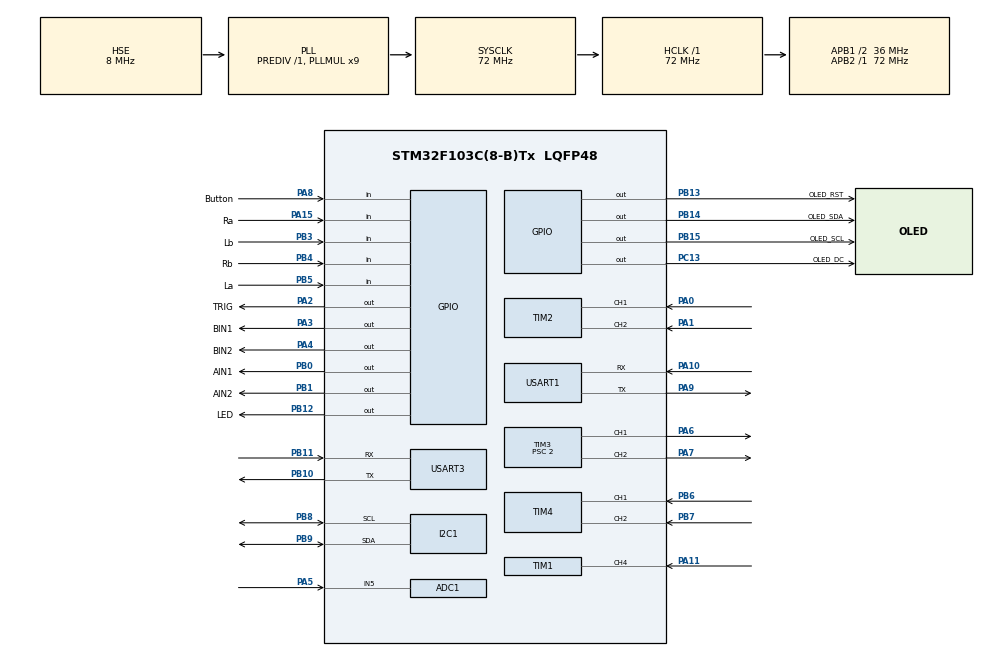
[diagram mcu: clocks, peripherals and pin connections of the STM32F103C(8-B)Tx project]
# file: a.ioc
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ADC1.Channel-0\#ChannelRegularConversion=ADC_CHANNEL_5
ADC1.ContinuousConvMode=ENABLE
ADC1.NbrOfConversionFlag=1
ADC1.Rank-0\#ChannelRegularConversion=1
ADC1.SamplingTime-0\#ChannelRegularConversion=ADC_SAMPLETIME_55CYCLES_5
ADC1.master=1
FREERTOS.Tasks01=defaultTask,0,128,StartDefaultTask,Default,NULL,Dynamic,NULL,NULL
FREERTOS.configTOTAL_HEAP_SIZE=6144
Mcu.Family=STM32F1
Mcu.Name=STM32F103C(8-B)Tx
Mcu.Package=LQFP48
NVIC.PriorityGroup=NVIC_PRIORITYGROUP_4
NVIC.TIM1_CC_IRQn=true\:5\:0\:false\:false\:true\:true\:true\:true
NVIC.TIM1_UP_IRQn=true\:5\:0\:false\:false\:true\:true\:true\:true
NVIC.USART1_IRQn=true\:5\:0\:false\:false\:true\:true\:true\:true
NVIC.USART3_IRQn=true\:5\:0\:false\:false\:true\:true\:true\:true
PA0-WKUP.Signal=S_TIM2_CH1_ETR
PA1.Signal=S_TIM2_CH2
PA10.Mode=Asynchronous
PA10.Signal=USART1_RX
PA11.Signal=S_TIM1_CH4
PA13.Mode=Serial_Wire
PA13.Signal=SYS_JTMS-SWDIO
PA14.Mode=Serial_Wire
PA14.Signal=SYS_JTCK-SWCLK
PA15.GPIO_Label=Ra
PA15.GPIO_PuPd=GPIO_PULLUP
PA15.Signal=GPIO_Input
PA2.GPIO_Label=TRIG
PA2.GPIO_Speed=GPIO_SPEED_FREQ_HIGH
PA2.Signal=GPIO_Output
PA3.GPIO_Label=BIN1
PA3.Signal=GPIO_Output
PA4.GPIO_Label=BIN2
PA4.Signal=GPIO_Output
PA5.Signal=ADCx_IN5
PA6.Signal=S_TIM3_CH1
PA7.Signal=S_TIM3_CH2
PA8.GPIO_Label=Button
PA8.GPIO_PuPd=GPIO_PULLUP
PA8.Signal=GPIO_Input
PA9.Mode=Asynchronous
PA9.Signal=USART1_TX
PB0.GPIO_Label=AIN1
PB0.GPIO_Speed=GPIO_SPEED_FREQ_LOW
PB0.Signal=GPIO_Output
PB1.GPIO_Label=AIN2
PB1.GPIO_ModeDefaultOutputPP=GPIO_MODE_OUTPUT_PP
PB1.Signal=GPIO_Output
PB10.Mode=Asynchronous
PB10.Signal=USART3_TX
PB11.Mode=Asynchronous
PB11.Signal=USART3_RX
PB12.GPIO_Label=LED
PB12.GPIO_Speed=GPIO_SPEED_FREQ_HIGH
PB12.Signal=GPIO_Output
PB13.GPIO_Label=OLED_RST
PB13.Signal=GPIO_Output
PB14.GPIO_Label=OLED_SDA
PB14.Signal=GPIO_Output
PB15.GPIO_Label=OLED_SCL
PB15.Signal=GPIO_Output
PB3.GPIO_Label=Lb
PB3.GPIO_PuPd=GPIO_PULLUP
PB3.Signal=GPIO_Input
PB4.GPIO_Label=Rb
PB4.GPIO_PuPd=GPIO_PULLUP
PB4.Signal=GPIO_Input
PB5.GPIO_Label=La
PB5.GPIO_PuPd=GPIO_PULLUP
PB5.Signal=GPIO_Input
PB6.Signal=S_TIM4_CH1
PB7.Signal=S_TIM4_CH2
PB8.Mode=I2C
PB8.Signal=I2C1_SCL
PB9.Mode=I2C
PB9.Signal=I2C1_SDA
PC13-TAMPER-RTC.GPIO_Label=OLED_DC
PC13-TAMPER-RTC.Signal=GPIO_Output
PC14-OSC32_IN.Mode=LSE-External-Oscillator
PC14-OSC32_IN.Signal=RCC_OSC32_IN
PC15-OSC32_OUT.Mode=LSE-External-Oscillator
PC15-OSC32_OUT.Signal=RCC_OSC32_OUT
PD0-OSC_IN.Mode=HSE-External-Oscillator
PD0-OSC_IN.Signal=RCC_OSC_IN
PD1-OSC_OUT.Mode=HSE-External-Oscillator
PD1-OSC_OUT.Signal=RCC_OSC_OUT
ProjectManager.HeapSize=0x200
ProjectManager.StackSize=0x400
ProjectManager.TargetToolchain=MDK-ARM V5.32
RCC.ADCPresc=RCC_ADCPCLK2_DIV6
RCC.AHBFreq_Value=72000000
RCC.APB1CLKDivider=RCC_HCLK_DIV2
RCC.APB1Freq_Value=36000000
RCC.APB1TimFreq_Value=72000000
RCC.APB2Freq_Value=72000000
RCC.APB2TimFreq_Value=72000000
RCC.HCLKFreq_Value=72000000
RCC.PLLMUL=RCC_PLL_MUL9
RCC.PLLSourceVirtual=RCC_PLLSOURCE_HSE
RCC.SYSCLKFreq_VALUE=72000000
RCC.SYSCLKSource=RCC_SYSCLKSOURCE_PLLCLK
RCC.USBFreq_Value=72000000
SH.ADCx_IN5.0=ADC1_IN5,IN5
SH.S_TIM1_CH4.0=TIM1_CH4,Input_Capture4_from_TI4
SH.S_TIM2_CH1_ETR.0=TIM2_CH1,Encoder_Interface
SH.S_TIM2_CH2.0=TIM2_CH2,Encoder_Interface
SH.S_TIM3_CH1.0=TIM3_CH1,PWM Generation1 CH1
SH.S_TIM3_CH2.0=TIM3_CH2,PWM Generation2 CH2
SH.S_TIM4_CH1.0=TIM4_CH1,Encoder_Interface
SH.S_TIM4_CH2.0=TIM4_CH2,Encoder_Interface
TIM1.Channel-Input_Capture4_from_TI4=TIM_CHANNEL_4
TIM1.Prescaler=71
TIM2.EncoderMode=TIM_ENCODERMODE_TI12
TIM2.IC1Filter=6
TIM2.IC2Filter=6
TIM3.Channel-PWM\ Generation1\ CH1=TIM_CHANNEL_1
TIM3.Channel-PWM\ Generation2\ CH2=TIM_CHANNEL_2
TIM3.Period=999
TIM3.Prescaler=2
TIM3.Pulse-PWM\ Generation2\ CH2=499
TIM4.EncoderMode=TIM_ENCODERMODE_TI12
TIM4.IC1Filter=6
TIM4.IC2Filter=6
USART1.VirtualMode=VM_ASYNC
USART3.VirtualMode=VM_ASYNC
VP_FREERTOS_VS_CMSIS_V1.Mode=CMSIS_V1
VP_TIM1_VS_ClockSourceINT.Mode=Internal
board=custom

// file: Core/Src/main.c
/* USER CODE BEGIN Header */
/**
  ******************************************************************************
  * @file           : main.c
  * @brief          : Main program body
  ******************************************************************************
  * @attention
  *
  * Copyright (c) 2026 STMicroelectronics.
  * All rights reserved.
  *
  * This software is licensed under terms that can be found in the LICENSE file
  * in the root directory of this software component.
  * If no LICENSE file comes with this software, it is provided AS-IS.
  *
  ******************************************************************************
  */
/* USER CODE END Header */
#include "main.h"
#include "cmsis_os.h"
#include "adc.h"
#include "i2c.h"
#include "tim.h"
#include "usart.h"
#include "gpio.h"

/* USER CODE BEGIN Includes */
#include "mpu6050.h"
#include "control.h"
#include "manage.h"
#include "ultrasonic.h"
#include "oled.h"
#include "bluetooth.h"
#include "infrared.h"
/* USER CODE END Includes */

void SystemClock_Config(void);
void MX_FREERTOS_Init(void);

int main(void)
{

  /* MCU Configuration--------------------------------------------------------*/

  /* Reset of all peripherals, Initializes the Flash interface and the Systick. */
  HAL_Init();

  /* Configure the system clock */
  SystemClock_Config();

  /* Initialize all configured peripherals */
  MX_GPIO_Init();
  MX_USART1_UART_Init();
  MX_TIM4_Init();
  MX_TIM3_Init();
  MX_I2C1_Init();
  MX_TIM2_Init();
  MX_ADC1_Init();
  MX_TIM1_Init();
  MX_USART3_UART_Init();
  /* USER CODE BEGIN 2 */
  /* 业务模块初始化：先启动传感器/电机/超声波/OLED/蓝牙，再允许控制中断工作。 */
  printf("\r\nBOOT: USART1 printf ok\r\n");
  if (!MPU_Init())
  {
    printf("MPU-6050 Init Successfully\r\n");
  }
  else
  {
    printf("MPU-6050 Init Failed\r\n");
  }
  /* TIM4/TIM2 工作在编码器模式，分别读取右轮和左轮脉冲。 */
  HAL_TIM_Encoder_Start(&htim4, TIM_CHANNEL_ALL);
  HAL_TIM_Encoder_Start(&htim2, TIM_CHANNEL_ALL);
  /* TIM3_CH1/CH2 输出左右电机 PWM。 */
  HAL_TIM_PWM_Start(&htim3, TIM_CHANNEL_1);
  HAL_TIM_PWM_Start(&htim3, TIM_CHANNEL_2);
  HAL_ADC_Start(&hadc1);
  /* TIM1_CH4 输入捕获用于读取超声波 Echo 高电平宽度。 */
  HAL_TIM_IC_Start_IT(&htim1, TIM_CHANNEL_4);
  __HAL_TIM_ENABLE_IT(&htim1, TIM_IT_UPDATE);
  printf("BOOT: timers started\r\n");
  UltraSelfCheck();
  printf("BOOT: ultrasonic checked\r\n");
  OLED_Init();
  printf("BOOT: oled initialized\r\n");
  Bluetooth_Init();
  printf("BOOT: bluetooth initialized\r\n");
  /* 所有关键外设准备好之后，才打开 SysTick 里的平衡控制节拍。 */
  g_u8ControlTickEnabled = 1;
  printf("BOOT: control tick enabled\r\n");
  /* USER CODE END 2 */

  /* Call init function for freertos objects (in freertos.c) */
  MX_FREERTOS_Init();
  /* Start scheduler */
  osKernelStart();

  /* We should never get here as control is now taken by the scheduler */
  /* Infinite loop */
  while (1)
  {

    /* USER CODE BEGIN 3 */
    Error_Handler();
  }
  /* USER CODE END 3 */
}

void SystemClock_Config(void)
{
  RCC_OscInitTypeDef RCC_OscInitStruct = {0};
  RCC_ClkInitTypeDef RCC_ClkInitStruct = {0};
  RCC_PeriphCLKInitTypeDef PeriphClkInit = {0};

  /** Initializes the RCC Oscillators according to the specified parameters
  * in the RCC_OscInitTypeDef structure.
  */
  RCC_OscInitStruct.OscillatorType = RCC_OSCILLATORTYPE_HSE;
  RCC_OscInitStruct.HSEState = RCC_HSE_ON;
  RCC_OscInitStruct.HSEPredivValue = RCC_HSE_PREDIV_DIV1;
  RCC_OscInitStruct.HSIState = RCC_HSI_ON;
  RCC_OscInitStruct.PLL.PLLState = RCC_PLL_ON;
  RCC_OscInitStruct.PLL.PLLSource = RCC_PLLSOURCE_HSE;
  RCC_OscInitStruct.PLL.PLLMUL = RCC_PLL_MUL9;
  if (HAL_RCC_OscConfig(&RCC_OscInitStruct) != HAL_OK)
  {
    Error_Handler();
  }
  /** Initializes the CPU, AHB and APB buses clocks
  */
  RCC_ClkInitStruct.ClockType = RCC_CLOCKTYPE_HCLK|RCC_CLOCKTYPE_SYSCLK
                              |RCC_CLOCKTYPE_PCLK1|RCC_CLOCKTYPE_PCLK2;
  RCC_ClkInitStruct.SYSCLKSource = RCC_SYSCLKSOURCE_PLLCLK;
  RCC_ClkInitStruct.AHBCLKDivider = RCC_SYSCLK_DIV1;
  RCC_ClkInitStruct.APB1CLKDivider = RCC_HCLK_DIV2;
  RCC_ClkInitStruct.APB2CLKDivider = RCC_HCLK_DIV1;

  if (HAL_RCC_ClockConfig(&RCC_ClkInitStruct, FLASH_LATENCY_2) != HAL_OK)
  {
    Error_Handler();
  }
  PeriphClkInit.PeriphClockSelection = RCC_PERIPHCLK_ADC;
  PeriphClkInit.AdcClockSelection = RCC_ADCPCLK2_DIV6;
  if (HAL_RCCEx_PeriphCLKConfig(&PeriphClkInit) != HAL_OK)
  {
    Error_Handler();
  }
}

void Error_Handler(void)
{
  __disable_irq();
  while (1)
  {
  }
}

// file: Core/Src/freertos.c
/* USER CODE BEGIN Header */
/**
  ******************************************************************************
  * File Name          : freertos.c
  * Description        : Code for freertos applications
  ******************************************************************************
  * @attention
  *
  * Copyright (c) 2026 STMicroelectronics.
  * All rights reserved.
  *
  * This software is licensed under terms that can be found in the LICENSE file
  * in the root directory of this software component.
  * If no LICENSE file comes with this software, it is provided AS-IS.
  *
  ******************************************************************************
  */
/* USER CODE END Header */

#include "FreeRTOS.h"
#include "task.h"
#include "main.h"
#include "cmsis_os.h"
//把外设任务都交给freerots
/* USER CODE BEGIN Includes */
#include "button.h"
#include "bluetooth.h"
#include "control.h"
#include "gpio.h"
#include "infrared.h"
#include "manage.h"
#include "oled.h"
#include "ultrasonic.h"
#include <stdio.h>
/* USER CODE END Includes */

/* USER CODE BEGIN Variables */
/* 自定义任务句柄：FreeRTOS 用它们管理上层慢任务。 */
osThreadId motionTaskHandle;
osThreadId oledTaskHandle;
osThreadId debugTaskHandle;
osThreadId buttonTaskHandle;
/* USER CODE END Variables */
osThreadId defaultTaskHandle;

/* USER CODE BEGIN FunctionPrototypes */
/* 20ms 上层运动任务：超声波/红外只生成 speed/direct 目标，不直接写 PWM。 */
void StartMotionTask(void const * argument);
/* 200ms OLED 任务：低优先级刷新状态页，避免影响平衡控制。 */
void StartOledTask(void const * argument);
/* 50ms 地面站任务：通过 printf 输出 $...; 格式波形数据。 */
void StartDebugTask(void const * argument);
/* 10ms 按键任务：处理按键事件并触发机械零点校准。 */
void StartButtonTask(void const * argument);
/* USER CODE END FunctionPrototypes */

void StartDefaultTask(void const * argument);

void MX_FREERTOS_Init(void); /* (MISRA C 2004 rule 8.1) */

/* GetIdleTaskMemory prototype (linked to static allocation support) */
void vApplicationGetIdleTaskMemory( StaticTask_t **ppxIdleTaskTCBBuffer, StackType_t **ppxIdleTaskStackBuffer, uint32_t *pulIdleTaskStackSize );

/* USER CODE BEGIN GET_IDLE_TASK_MEMORY */
static StaticTask_t xIdleTaskTCBBuffer;
static StackType_t xIdleStack[configMINIMAL_STACK_SIZE];

void vApplicationGetIdleTaskMemory( StaticTask_t **ppxIdleTaskTCBBuffer, StackType_t **ppxIdleTaskStackBuffer, uint32_t *pulIdleTaskStackSize )
{
  *ppxIdleTaskTCBBuffer = &xIdleTaskTCBBuffer;
  *ppxIdleTaskStackBuffer = &xIdleStack[0];
  *pulIdleTaskStackSize = configMINIMAL_STACK_SIZE;
  /* place for user code */
}
/* USER CODE END GET_IDLE_TASK_MEMORY */

void MX_FREERTOS_Init(void) {

  /* Create the thread(s) */
  /* definition and creation of defaultTask */
  osThreadDef(defaultTask, StartDefaultTask, osPriorityNormal, 0, 128);
  defaultTaskHandle = osThreadCreate(osThread(defaultTask), NULL);
//默认任务
  /* USER CODE BEGIN RTOS_THREADS */
  osThreadDef(motionTask, StartMotionTask, osPriorityAboveNormal, 0, 384);
  motionTaskHandle = osThreadCreate(osThread(motionTask), NULL);
//运动模式任务
  osThreadDef(oledTask, StartOledTask, osPriorityLow, 0, 512);
  oledTaskHandle = osThreadCreate(osThread(oledTask), NULL);
//oled显示任务
  osThreadDef(debugTask, StartDebugTask, osPriorityLow, 0, 512);
  debugTaskHandle = osThreadCreate(osThread(debugTask), NULL);
//地面站串口调试任务，优先级低，50ms 一次。
  osThreadDef(buttonTask, StartButtonTask, osPriorityBelowNormal, 0, 128);
  buttonTaskHandle = osThreadCreate(osThread(buttonTask), NULL);
// 按键任务，10ms 一次。
 /* USER CODE END RTOS_THREADS */

}

void StartDefaultTask(void const * argument)
{
  for(;;)
  {
    osDelay(1);
  }
}

/* USER CODE BEGIN Application */
void StartMotionTask(void const * argument)
	//20ms读取一次超声波
{
  (void)argument;

  for (;;)
  {
    /*
     * 20ms 运动模式任务：
     * 超声波测距、跟随/避障、红外循迹都属于上层运动目标生成。
     * 它们最终只调用 Steer() 设置 speed/direct 目标，不直接控制电机 PWM。
     */
    Read_Distane();

    if (g_CarRunningMode == ULTRA_FOLLOW_MODE)
    {
      UltraControl(0);
    }
    else if (g_CarRunningMode == ULTRA_AVOID_MODE)
    {
      UltraControl(1);
    }
    else if (g_CarRunningMode == INFRARED_TRACE_MODE)
    {
      InfraredTraceControl();
    }
    else if (g_CarRunningMode == CONTROL_MODE)
    {
      /* 手动模式不主动生成运动目标，只做蓝牙超时刹停保护。 */
      Bluetooth_ManualWatchdog();
    }

    osDelay(20);
  }
}

void StartOledTask(void const * argument)
{
  (void)argument;

  for (;;)
  {
    /* OLED 刷新很慢，所以放在低优先级任务，避免阻塞平衡控制。 */
    OLED_ShowHomePage();
    osDelay(200);
  }
}

void StartDebugTask(void const * argument)
{
  (void)argument;

  for (;;)
  {
    /* 地面站调试输出：角度、距离、速度目标、速度环输出、蓝牙和红外状态。 */
    printf("$%.1f %.1f %.1f %.1f %.1f %.1f %.1f %.1f;",
           g_fCarAngle,
           Distance,
           g_fCarSpeedSet,
           g_fSpeedControlOut,
           (float)g_u8BluetoothLastByte,
           (float)g_u32BluetoothRxCount,
           (float)g_u8InfraredTraceState,
           (float)g_iInfraredTraceError);
    osDelay(50);
  }
}

void StartButtonTask(void const * argument)
{
  (void)argument;

  for (;;)
  {
    if (g_iButtonState == 1)
    {
      /* 按键短按：校准机械零点，同时 LED 翻转提示。 */
      ControlCalibrateZeroAngle();
      HAL_GPIO_TogglePin(LED_GPIO_Port, LED_Pin);
      g_iButtonState = 0;
    }

    osDelay(10);
  }
}

/* USER CODE END Application */
